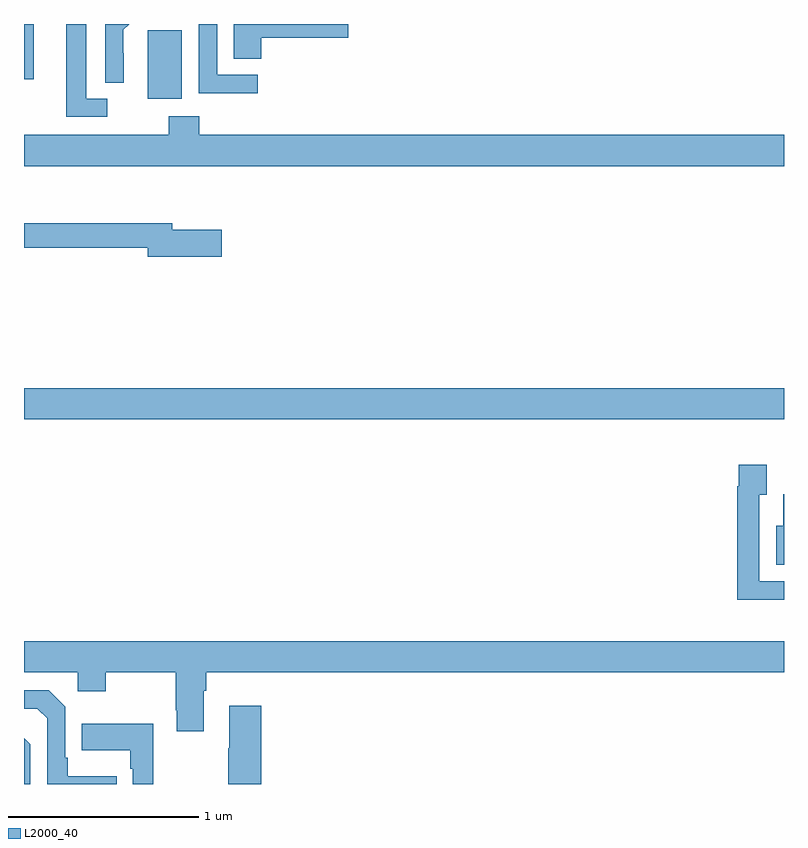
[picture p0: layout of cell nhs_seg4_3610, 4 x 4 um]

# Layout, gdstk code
import gdstk
lib = gdstk.Library(unit=1e-6, precision=1e-09)
def R(c, l, rs):  # rectangles x0, y0, x1, y1
    for r in rs: c.add(gdstk.rectangle(r[:2], r[2:], *l))
def P(c, l, *ps):  # polygons
    for p in ps: c.add(gdstk.Polygon(p, *l))
L2000_40 = (2000, 40)

nhs_seg4_3610 = lib.new_cell('nhs_seg4_3610')
R(nhs_seg4_3610, L2000_40, [(301,796.82,305,796.984), (301.652,798.506,301.831,798.867), (301,798.609,301.051,798.9)])
P(nhs_seg4_3610, L2000_40, [(302.249,798.827),(302.707,798.827),(302.707,798.9),(302.105,798.9),(302.105,798.718),(302.249,798.718)],
  [(302.23,798.633),(302.016,798.633),(302.016,798.9),(301.92,798.9),(301.92,798.535),(302.23,798.535)],
  [(301.524,798.746),(301.523,798.746),(301.523,798.869),(301.554,798.9),(301.428,798.9),(301.428,798.592),(301.524,798.592)],
  [(301.438,798.507),(301.327,798.507),(301.327,798.9),(301.223,798.9),(301.223,798.411),(301.438,798.411)],
  [(305,798.316),(301.922,798.316),(301.922,798.415),(301.762,798.415),(301.762,798.316),(301,798.316),(301,798.152),(305,798.152)],
  [(302.041,797.817),(301.78,797.817),(301.78,797.851),(301,797.851),(301,797.722),(301.652,797.722),(301.652,797.675),(302.041,797.675)],
  [(305,795.966),(304.869,795.966),(304.869,796.423),(304.909,796.423),(304.909,796.579),(304.761,796.579),(304.761,796.466),(304.753,796.466),(304.753,795.869),(305,795.869)],
  [(305,796.426),(304.997,796.426),(304.997,796.258),(304.958,796.258),(304.958,796.055),(305,796.055)],
  [(301,795.488),(301.284,795.488),(301.284,795.389),(301.431,795.389),(301.431,795.488),(301.798,795.488),(301.798,795.289),(301.805,795.289),(301.805,795.177),(301.945,795.177),(301.945,795.392),(301.958,795.392),(301.958,795.488),(305,795.488),(305,795.652),(301,795.652)],
  [(301.487,794.941),(301.231,794.941),(301.231,795.037),(301.218,795.037),(301.218,795.306),(301.131,795.393),(301,795.393),(301,795.297),(301.071,795.297),(301.122,795.246),(301.122,794.9),(301.487,794.9)],
  [(302.249,795.313),(302.081,795.313),(302.081,795.089),(302.074,795.089),(302.074,794.9),(302.249,794.9)],
  [(301.681,795.217),(301.303,795.217),(301.303,795.077),(301.56,795.077),(301.56,794.981),(301.572,794.981),(301.572,794.9),(301.681,794.9)],
  [(301.032,795.108),(301,795.14),(301,794.9),(301.032,794.9)])

lib.write_gds('nhs_seg4_3610.gds')
